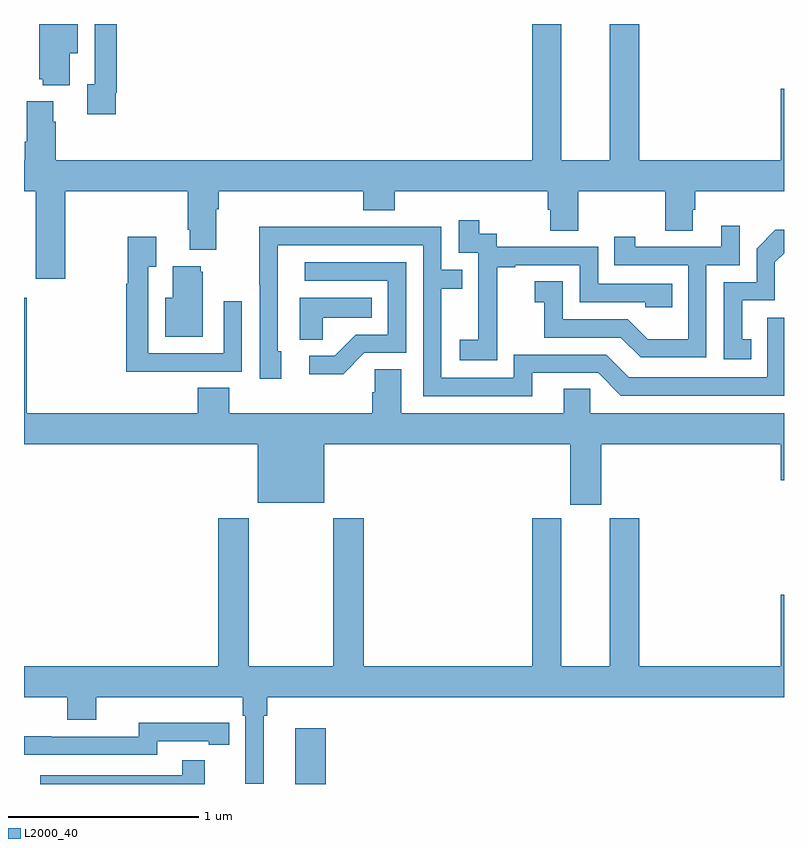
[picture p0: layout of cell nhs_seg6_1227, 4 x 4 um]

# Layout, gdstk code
import gdstk
lib = gdstk.Library(unit=1e-6, precision=1e-09)
def R(c, l, rs):  # rectangles x0, y0, x1, y1
    for r in rs: c.add(gdstk.rectangle(r[:2], r[2:], *l))
def P(c, l, *ps):  # polygons
    for p in ps: c.add(gdstk.Polygon(p, *l))
L2000_40 = (2000, 40)

nhs_seg6_1227 = lib.new_cell('nhs_seg6_1227')
R(nhs_seg6_1227, L2000_40, [(186.428,993.5,186.587,993.793)])
P(nhs_seg6_1227, L2000_40, [(185.482,997.138),(185.489,997.138),(185.489,997.5),(185.373,997.5),(185.373,997.182),(185.333,997.182),(185.333,997.026),(185.482,997.026)],
  [(185.242,997.346),(185.284,997.346),(185.284,997.5),(185.081,997.5),(185.081,997.209),(185.099,997.209),(185.099,997.178),(185.242,997.178)],
  [(185.217,996.62),(185.861,996.62),(185.861,996.418),(185.873,996.418),(185.873,996.311),(186.013,996.311),(186.013,996.524),(186.026,996.524),(186.026,996.62),(186.785,996.62),(186.785,996.521),(186.95,996.521),(186.95,996.62),(187.757,996.62),(187.757,996.522),(187.769,996.522),(187.769,996.412),(187.917,996.412),(187.917,996.62),(188.374,996.62),(188.374,996.412),(188.521,996.412),(188.521,996.522),(188.534,996.522),(188.534,996.62),(189,996.62),(189,997.159),(188.984,997.159),(188.984,996.784),(188.237,996.784),(188.237,997.5),(188.084,997.5),(188.084,996.784),(187.828,996.784),(187.828,997.5),(187.676,997.5),(187.676,996.784),(185.168,996.784),(185.168,996.986),(185.155,996.986),(185.155,997.093),(185.015,997.093),(185.015,996.88),(185.003,996.88),(185.003,996.784),(185,996.784),(185,996.62),(185.062,996.62),(185.062,996.159),(185.217,996.159)],
  [(187.491,995.935),(187.49,995.935),(187.49,996.219),(187.585,996.219),(187.585,996.231),(187.926,996.231),(187.926,996.036),(188.271,996.036),(188.271,996.009),(188.411,996.009),(188.411,996.132),(188.022,996.132),(188.022,996.327),(187.488,996.327),(187.488,996.396),(187.396,996.396),(187.396,996.466),(187.287,996.466),(187.287,996.297),(187.392,996.297),(187.392,996.068),(187.391,996.068),(187.391,995.839),(187.293,995.839),(187.293,995.729),(187.491,995.729)],
  [(188.592,996.231),(188.766,996.231),(188.766,996.439),(188.669,996.439),(188.669,996.327),(188.218,996.327),(188.218,996.379),(188.107,996.379),(188.107,996.231),(188.496,996.231),(188.496,995.842),(188.282,995.842),(188.178,995.946),(187.836,995.946),(187.836,996.145),(187.689,996.145),(187.689,996.035),(187.738,996.035),(187.738,995.85),(188.141,995.85),(188.246,995.745),(188.592,995.745)],
  [(187.675,995.664),(188.022,995.664),(188.142,995.544),(189,995.544),(189,995.955),(188.913,995.955),(188.913,995.64),(188.184,995.64),(188.064,995.76),(187.578,995.76),(187.578,995.637),(187.197,995.637),(187.197,996.106),(187.307,996.106),(187.307,996.207),(187.197,996.207),(187.197,996.432),(186.701,996.432),(186.701,996.434),(186.238,996.434),(186.238,996.127),(186.24,996.127),(186.24,995.634),(186.355,995.634),(186.355,995.778),(186.336,995.778),(186.336,996.336),(187.101,996.336),(187.101,995.541),(187.675,995.541)],
  [(188.828,995.841),(188.779,995.841),(188.779,996.045),(188.952,996.045),(188.952,996.246),(189,996.294),(189,996.416),(188.954,996.416),(188.856,996.318),(188.856,996.141),(188.682,996.141),(188.682,995.736),(188.828,995.736)],
  [(185.831,995.67),(186.147,995.67),(186.147,996.04),(186.051,996.04),(186.051,995.766),(185.655,995.766),(185.655,996.223),(185.695,996.223),(185.695,996.379),(185.547,996.379),(185.547,996.134),(185.539,996.134),(185.539,995.669),(185.831,995.669)],
  [(186.792,995.769),(187.011,995.769),(187.011,996.246),(186.477,996.246),(186.477,996.15),(186.915,996.15),(186.915,995.865),(186.746,995.865),(186.635,995.754),(186.501,995.754),(186.501,995.657),(186.679,995.657)],
  [(185.941,996.195),(185.93,996.195),(185.93,996.226),(185.783,996.226),(185.783,996.058),(185.744,996.058),(185.744,995.855),(185.941,995.855)],
  [(186.573,995.954),(186.83,995.954),(186.83,996.058),(186.452,996.058),(186.452,995.839),(186.573,995.839)],
  [(188.038,995.288),(188.984,995.288),(188.984,995.1),(189,995.1),(189,995.452),(187.98,995.452),(187.98,995.579),(187.841,995.579),(187.841,995.452),(186.985,995.452),(186.985,995.684),(186.846,995.684),(186.846,995.561),(186.833,995.561),(186.833,995.452),(186.08,995.452),(186.08,995.585),(185.915,995.585),(185.915,995.452),(185.014,995.452),(185.014,996.058),(185,996.058),(185,995.288),(186.23,995.288),(186.23,994.979),(186.58,994.979),(186.58,995.288),(187.874,995.288),(187.874,994.971),(188.038,994.971)],
  [(186.262,993.86),(186.281,993.86),(186.281,993.956),(189,993.956),(189,994.495),(188.984,994.495),(188.984,994.12),(188.237,994.12),(188.237,994.899),(188.084,994.899),(188.084,994.12),(187.828,994.12),(187.828,994.899),(187.676,994.899),(187.676,994.12),(186.788,994.12),(186.788,994.9),(186.628,994.9),(186.628,994.12),(186.183,994.12),(186.183,994.9),(186.023,994.9),(186.023,994.12),(185,994.12),(185,993.956),(185.228,993.956),(185.228,993.839),(185.38,993.839),(185.38,993.956),(186.152,993.956),(186.152,993.86),(186.165,993.86),(186.165,993.501),(186.262,993.501)],
  [(185.7,993.726),(185.972,993.726),(185.972,993.706),(186.08,993.706),(186.08,993.822),(185.972,993.822),(185.972,993.823),(185.604,993.823),(185.604,993.75),(185.144,993.75),(185.144,993.752),(185,993.752),(185,993.654),(185.7,993.654)],
  [(185.951,993.625),(185.833,993.625),(185.833,993.546),(185.085,993.546),(185.085,993.5),(185.951,993.5)])

lib.write_gds('nhs_seg6_1227.gds')
